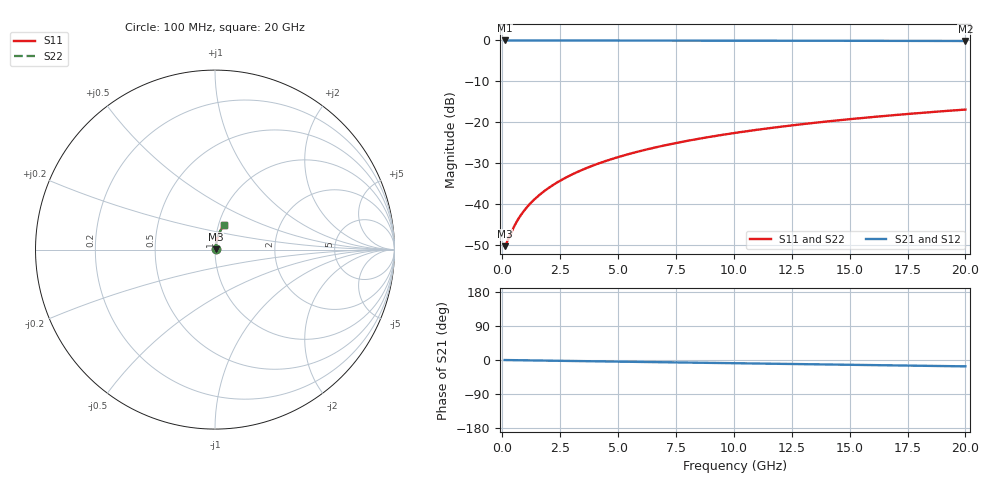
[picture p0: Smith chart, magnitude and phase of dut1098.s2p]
! Touchstone file exported from HFSS 2026.1.0
!  File:  C:/ffzhzh/LocalFiles/Ansys_Project_Files/temp_train_TMRDL_1098_1783161204_18472.aedt
!  Generated:  06:34:34 PM Jul  4, 2026
!  Design:  TMRDL
!  Project:  temp_train_TMRDL_1098_1783161204_18472
! Variables:
!  h_bsmrdl = 2um
!  h_ox = 20um
!  h_rdl = 5um
!  h_sub = 80um
!  h_tmrdl = 2.07um
!  h_tsv = 80um
!  h_via = 3um
!  l_bsmrdl = 300um
!  l_sub = 642.97um
!  l_tmrdl = 242.97um
!  m_sub = 200um
!  pitch = 27.52um
!  r_tsv = 6um
!  s_tmrdl = 10um
!  w_bsmrdl = 18um
!  w_sub = 500um
!  w_tmrdl = 15.8um
!  x_tsv_center1 = 250.87um
!  x_tsv_center2 = 568.87um
!  x_tsv_center3 = 827.64um
!  x_tsv_center4 = 1145.64um
!  x_tsv_center5 = 1404.41um
!  x_tsv_center6 = 1722.41um
# GHz S MA R 50.000000
! Terminal data exported
! Port[1] = TM_RDL1_1_T1
! Port[2] = TM_RDL1_1_T2
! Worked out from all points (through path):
!   200 points, 100 MHz to 20 GHz, reference 50 ohm
!   highest |S21| = -0.03 dB at 100 MHz (marker M1); lowest = -0.2 dB at 20 GHz (marker M2)
!   group delay of S21, straight-line fit = 2.33 ps
!   lowest |S11| = -50.2 dB at 100 MHz (marker M3), VSWR 1.01, Z = 50.3 + j0.0869 ohm
!   |S11| at or under -10 dB: start of sweep to end of sweep
!   |S22| runs from -50.2 to -16.9 dB; largest |S21 - S12| = 4.5e-15
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0.1  0.003085 16.3  0.997 -0.1  0.997 -0.1  0.003085 16.3
! Gamma 0 0 0 0
! Port Impedance 50 0 50 0
0.2  0.003462 29.8  0.997 -0.2  0.997 -0.2  0.003462 29.8
0.5  0.005289 52.2  0.9968 -0.5  0.9968 -0.5  0.005289 52.2
0.7  0.006673 59.0  0.9966 -0.6  0.9966 -0.6  0.006673 59.0
0.8  0.007372 61.5  0.9965 -0.7  0.9965 -0.7  0.007372 61.5
1  0.00877 65.1  0.9964 -0.9  0.9964 -0.9  0.00877 65.1
1.3  0.01087 68.9  0.9962 -1.1  0.9962 -1.1  0.01087 68.9
1.5  0.01228 70.8  0.9961 -1.3  0.9961 -1.3  0.01228 70.7
1.7  0.01369 72.2  0.9961 -1.5  0.9961 -1.5  0.01369 72.2
2.2  0.01726 74.9  0.9959 -1.9  0.9959 -1.9  0.01726 74.9
2.8  0.02159 76.8  0.9957 -2.4  0.9957 -2.4  0.02159 76.8
3.5  0.02668 78.1  0.9955 -3.0  0.9955 -3.0  0.02668 78.1
4.2  0.03179 78.7  0.9953 -3.6  0.9953 -3.6  0.03179 78.7
5  0.03764 79.1  0.995 -4.3  0.995 -4.3  0.03764 79.1
5.9  0.04422 79.1  0.9945 -5.0  0.9945 -5.0  0.04422 79.1
6.8  0.05079 79.0  0.9941 -5.8  0.9941 -5.8  0.05079 79.0
8.3  0.06168 78.4  0.9932 -7.1  0.9932 -7.1  0.06168 78.4
10.1  0.07465 77.4  0.992 -8.6  0.992 -8.6  0.07465 77.4
11.7  0.08606 76.4  0.9907 -9.9  0.9907 -9.9  0.08606 76.3
13.4  0.09805 75.2  0.9892 -11.3  0.9892 -11.3  0.09805 75.2
16.7  0.1209 72.8  0.986 -14.1  0.986 -14.1  0.1209 72.7
20  0.1432 70.2  0.9822 -16.8  0.9822 -16.8  0.1432 70.2
